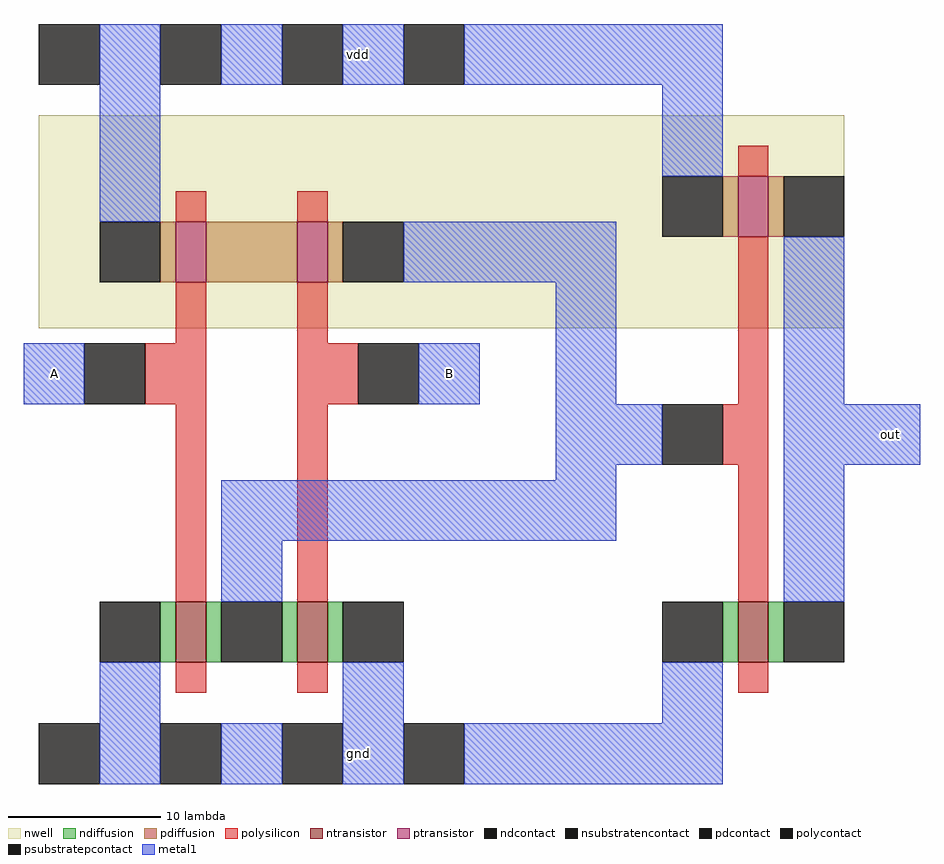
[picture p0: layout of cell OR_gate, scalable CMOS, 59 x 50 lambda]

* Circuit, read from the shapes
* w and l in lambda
.subckt OR_gate A B gnd out vdd
M1 n1 A gnd gnd nfet w=4 l=2
M2 gnd B n1 gnd nfet w=4 l=2
M3 out n1 gnd gnd nfet w=4 l=2
M4 n2 A vdd n3 pfet w=4 l=2
M5 n1 B n2 n3 pfet w=4 l=2
M6 out n1 vdd n3 pfet w=4 l=2
.ends

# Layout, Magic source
magic
tech scmos
<< nwell >>
rect -14 16 39 30
<< polysilicon >>
rect 32 26 34 28
rect -5 23 -3 25
rect 3 23 5 25
rect -5 15 -3 19
rect -7 11 -3 15
rect -5 -2 -3 11
rect 3 15 5 19
rect 3 11 7 15
rect 32 11 34 22
rect 3 -2 5 11
rect 31 7 34 11
rect 32 -2 34 7
rect -5 -8 -3 -6
rect 3 -8 5 -6
rect 32 -8 34 -6
<< ndiffusion >>
rect -6 -6 -5 -2
rect -3 -6 -2 -2
rect 2 -6 3 -2
rect 5 -6 6 -2
rect 31 -6 32 -2
rect 34 -6 35 -2
<< pdiffusion >>
rect -6 19 -5 23
rect -3 19 3 23
rect 5 19 6 23
rect 31 22 32 26
rect 34 22 35 26
<< metal1 >>
rect -10 23 -6 36
rect -2 32 2 36
rect 6 32 10 36
rect 14 32 31 36
rect 27 26 31 32
rect 10 19 24 23
rect -15 11 -11 15
rect 11 11 15 15
rect 20 11 24 19
rect 35 11 39 22
rect 20 7 27 11
rect 35 7 44 11
rect 20 6 24 7
rect -2 2 24 6
rect -2 -2 2 2
rect 35 -2 39 7
rect -10 -14 -6 -6
rect -2 -14 2 -10
rect 6 -14 10 -6
rect 27 -10 31 -6
rect 14 -14 31 -10
<< ntransistor >>
rect -5 -6 -3 -2
rect 3 -6 5 -2
rect 32 -6 34 -2
<< ptransistor >>
rect -5 19 -3 23
rect 3 19 5 23
rect 32 22 34 26
<< polycontact >>
rect -11 11 -7 15
rect 7 11 11 15
rect 27 7 31 11
<< ndcontact >>
rect -10 -6 -6 -2
rect -2 -6 2 -2
rect 6 -6 10 -2
rect 27 -6 31 -2
rect 35 -6 39 -2
<< pdcontact >>
rect -10 19 -6 23
rect 6 19 10 23
rect 27 22 31 26
rect 35 22 39 26
<< psubstratepcontact >>
rect -14 -14 -10 -10
rect -6 -14 -2 -10
rect 2 -14 6 -10
rect 10 -14 14 -10
<< nsubstratencontact >>
rect -14 32 -10 36
rect -6 32 -2 36
rect 2 32 6 36
rect 10 32 14 36
<< labels >>
rlabel metal1 7 -12 7 -12 1 gnd
rlabel metal1 7 34 7 34 5 vdd
rlabel metal1 -13 13 -13 13 3 A
rlabel metal1 13 13 13 13 1 B
rlabel metal1 42 9 42 9 7 out
<< end >>
